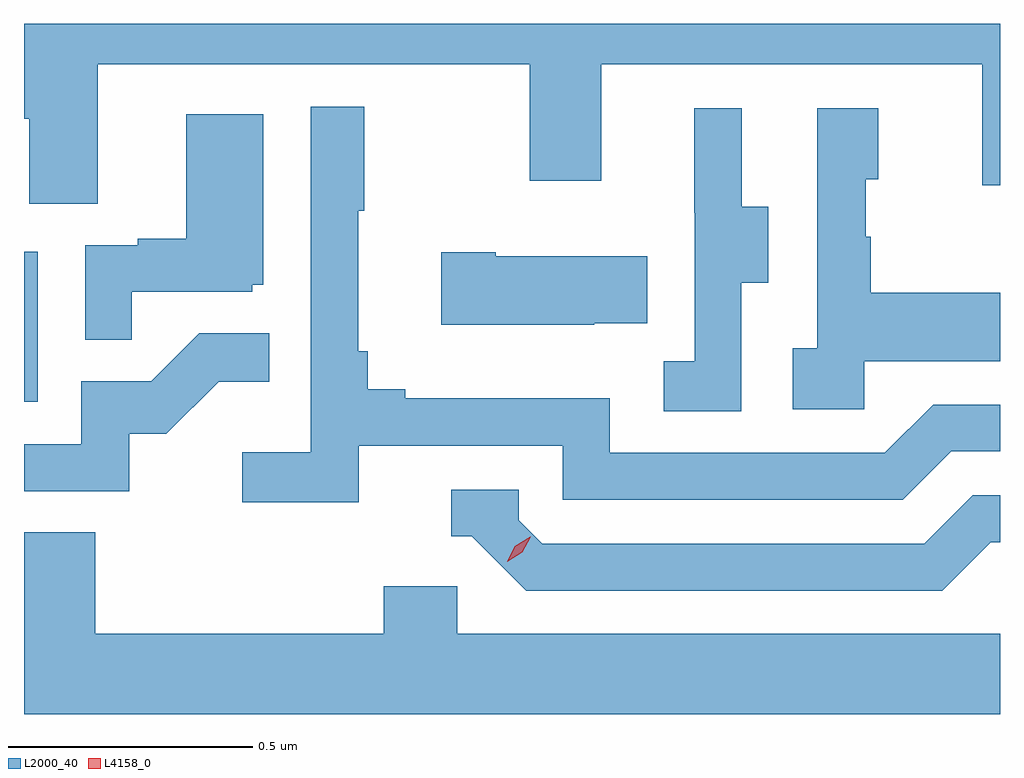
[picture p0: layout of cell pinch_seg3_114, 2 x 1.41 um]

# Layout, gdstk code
import gdstk
lib = gdstk.Library(unit=1e-6, precision=1e-09)
def R(c, l, rs):  # rectangles x0, y0, x1, y1
    for r in rs: c.add(gdstk.rectangle(r[:2], r[2:], *l))
def P(c, l, *ps):  # polygons
    for p in ps: c.add(gdstk.Polygon(p, *l))
L2000_40 = (2000, 40)
L4158_0 = (4158, 0)

pinch_seg3_114 = lib.new_cell('pinch_seg3_114')
R(pinch_seg3_114, L2000_40, [(1029.702,717.54,1029.73,717.847)])
P(pinch_seg3_114, L2000_40, [(1029.853,718.232),(1030.738,718.232),(1030.738,717.993),(1030.885,717.993),(1030.885,718.232),(1031.666,718.232),(1031.666,717.984),(1031.702,717.984),(1031.702,718.314),(1029.702,718.314),(1029.702,718.12),(1029.713,718.12),(1029.713,717.946),(1029.853,717.946)],
  [(1030.388,717.45),(1030.806,717.45),(1030.806,717.339),(1031.503,717.339),(1031.602,717.438),(1031.702,717.438),(1031.702,717.534),(1031.565,717.534),(1031.466,717.435),(1030.902,717.435),(1030.902,717.547),(1030.483,717.547),(1030.483,717.566),(1030.406,717.566),(1030.406,717.643),(1030.387,717.643),(1030.387,717.931),(1030.399,717.931),(1030.399,718.144),(1030.29,718.144),(1030.29,717.436),(1030.149,717.436),(1030.149,717.334),(1030.388,717.334)],
  [(1031.424,717.623),(1031.702,717.623),(1031.702,717.763),(1031.437,717.763),(1031.437,717.878),(1031.427,717.878),(1031.427,717.996),(1031.452,717.996),(1031.452,718.141),(1031.328,718.141),(1031.328,717.65),(1031.277,717.65),(1031.277,717.525),(1031.424,717.525)],
  [(1031.172,717.784),(1031.227,717.784),(1031.227,717.939),(1031.173,717.939),(1031.173,718.141),(1031.075,718.141),(1031.075,717.927),(1031.076,717.927),(1031.076,717.623),(1031.013,717.623),(1031.013,717.52),(1031.172,717.52)],
  [(1029.923,717.765),(1030.17,717.765),(1030.17,717.78),(1030.192,717.78),(1030.192,718.129),(1030.034,718.129),(1030.034,717.874),(1029.935,717.874),(1029.935,717.861),(1029.828,717.861),(1029.828,717.667),(1029.923,717.667)],
  [(1030.871,717.701),(1030.979,717.701),(1030.979,717.838),(1030.669,717.838),(1030.669,717.846),(1030.557,717.846),(1030.557,717.698),(1030.871,717.698)],
  [(1029.918,717.474),(1029.994,717.474),(1030.101,717.581),(1030.205,717.581),(1030.205,717.68),(1030.061,717.68),(1029.963,717.582),(1029.819,717.582),(1029.819,717.453),(1029.702,717.453),(1029.702,717.357),(1029.918,717.357)],
  [(1031.683,717.252),(1031.702,717.252),(1031.702,717.348),(1031.646,717.348),(1031.547,717.249),(1030.764,717.249),(1030.716,717.297),(1030.716,717.36),(1030.577,717.36),(1030.577,717.264),(1030.62,717.264),(1030.731,717.153),(1031.584,717.153)],
  [(1030.439,717.162),(1030.439,717.064),(1029.848,717.064),(1029.848,717.272),(1029.702,717.272),(1029.702,716.9),(1031.702,716.9),(1031.702,717.064),(1030.59,717.064),(1030.59,717.162)])
P(pinch_seg3_114, L4158_0, [(1030.692,717.212),(1030.692,717.212),(1030.708,717.244),(1030.739,717.263),(1030.74,717.263),(1030.74,717.263),(1030.723,717.231),(1030.692,717.212)])

lib.write_gds('pinch_seg3_114.gds')
